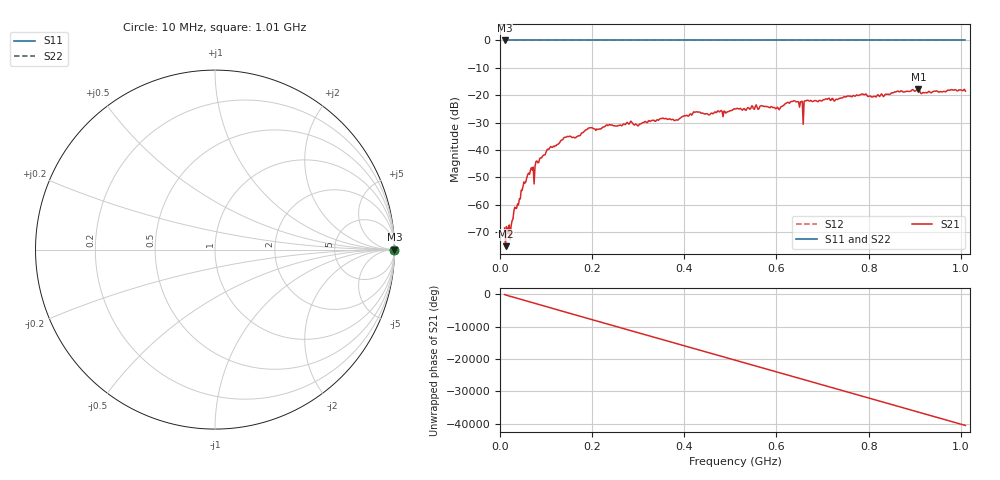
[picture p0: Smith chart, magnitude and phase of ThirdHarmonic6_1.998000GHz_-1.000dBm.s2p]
! 8/17/2025 12:00:37 AM
! C:\ANRITSUVNA\TEMP\TEMP.S2P
! CHANNEL.1
! TR.MEASUREMENT
! RAW.DATA
! RF.CORRECTION.OFF
! AVERAGING.OFF
! IF.BANDWIDTH: 5KHZ
! SWEEPTYPE:  FREQ.SWEEP(Linear)
! Reference Plane Port Info
! PORT:  PORT1  PORT2
! DISTANCE:  0  m  0  m
! TIME:  0  s  0  s
! PHASE.OFFSET:  0  deg.  0  deg.
! LOSS:  0  dB  0  dB
! REF.LOSS:  0  dB  0  dB
! REF.FREQ:  0  Hz  0  Hz
! Power Info
! POWER:  -20  dBm  -20  dBm
! EFF.POWER:  -20  dBm  -20  dBm
! SOURCE.ATTEN:  0  dB  0  dB
! TEST.ATTEN:  0  dB  0  dB
# GHZ S RI R 50.0
! FREQ.GHZ  S11RE  S11IM  S21RE  S21IM  S12RE  S12IM  S22RE  S22IM
!; PortSelection: Port_12
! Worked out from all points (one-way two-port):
!   501 points, 10 MHz to 1.01 GHz, reference 50 ohm
!   highest |S21| = -17.75 dB at 908 MHz (marker M1); lowest = -75.1 dB at 12 MHz (marker M2)
!   lowest |S11| = 0.0 dB at 10 MHz (marker M3)
!   |S11| at or under -10 dB: nowhere
!   |S22| runs from 0.0 to 0.0 dB; largest |S21 - S12| = 1.1
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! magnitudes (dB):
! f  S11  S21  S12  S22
! 10 MHz  0.0  -68.4  0.0  0.0
! 12 MHz  0.0  -75.1  0.0  0.0
! 22 MHz  0.0  -72.8  0.0  0.0
! 30 MHz  0.0  -62.4  0.0  0.0
! 50 MHz  0.0  -53.2  0.0  0.0
! 64 MHz  0.0  -48.9  0.0  0.0
! 82 MHz  0.0  -44.6  0.0  0.0
! 142 MHz  0.0  -35.3  0.0  0.0
! 178 MHz  0.0  -33.7  0.0  0.0
! 196 MHz  0.0  -31.8  0.0  0.0
! 344 MHz  0.0  -29.1  0.0  0.0
! 510 MHz  0.0  -25.0  0.0  0.0
! 602 MHz  0.0  -24.3  0.0  0.0
! 636 MHz  0.0  -22.1  0.0  0.0
! 652 MHz  0.0  -22.4  0.0  0.0
! 654 MHz  0.0  -22.3  0.0  0.0
! 662 MHz  0.0  -22.0  0.0  0.0
! 664 MHz  0.0  -22.1  0.0  0.0
! 678 MHz  0.0  -22.3  0.0  0.0
! 844 MHz  0.0  -19.7  0.0  0.0
! 908 MHz  0.0  -17.8  0.0  0.0
! 1.01 GHz  0.0  -18.5  0.0  0.0
